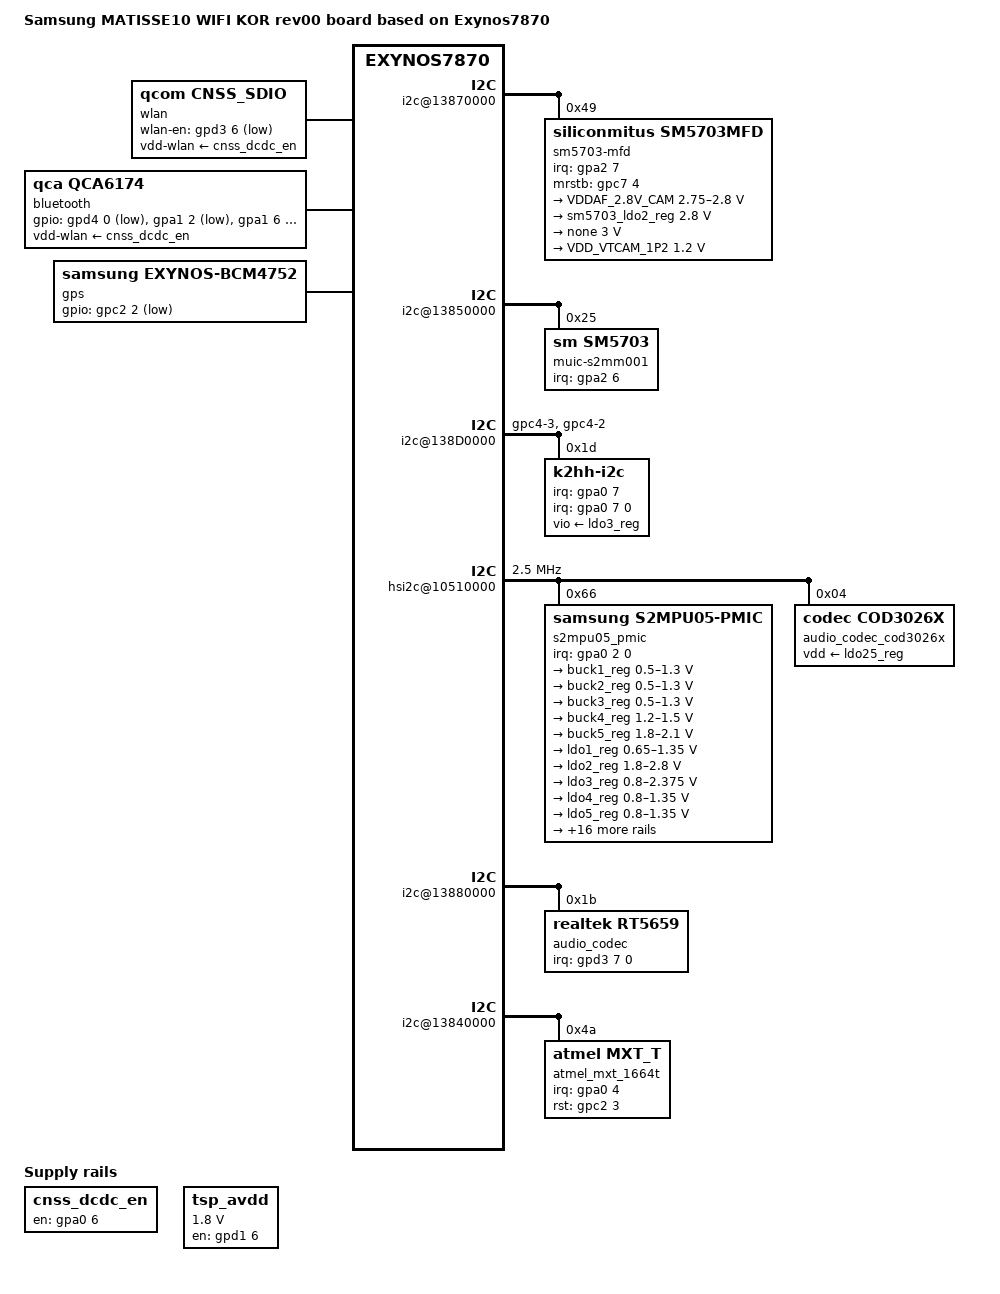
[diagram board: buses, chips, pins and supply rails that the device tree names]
/*
 * SAMSUNG UNIVERSAL8890 board device tree source
 *
 * Copyright (c) 2013 Samsung Electronics Co., Ltd.
 *		http://www.samsung.com
 *
 * This program is free software; you can redistribute it and/or modify
 * it under the terms of the GNU General Public License version 2 as
 * published by the Free Software Foundation.
*/

/dts-v1/;
#include "exynos7870-matisse10wifi_common.dtsi"
#include "modem-ss315ap-pdata.dtsi"
#include "exynos7870-matisse10wifi_kor_open_gpio_00.dtsi"
#include "exynos7870-matisse10wifi_kor_open_battery_00.dtsi"

/ {
	model = "Samsung MATISSE10 WIFI KOR rev00 board based on Exynos7870";
        model_info-chip = <7870>;
        model_info-platform = "android";
        model_info-subtype = "samsung";
        model_info-hw_rev = <0>;
        model_info-hw_rev_end = <0>;
	compatible = "samsung, MATISSE10 WIFI KOR OPEN 00", "samsung,exynos7870";

	cnss_dcdc_en: cnss_dcdc_en {
		compatible = "regulator-fixed";
		regulator-name = "cnss_dcdc_en";
		startup-delay-us = <4000>;
		enable-active-high;
		gpio = <&gpa0 6 0>;
	};

	i2c@13870000 {
		status = "okay";
		sm5703-mfd@49 {
			compatible = "siliconmitus,sm5703mfd";
			reg = <0x49>;
			pinctrl-names = "default";
			pinctrl-0 = <&chg_en &if_pmic_irq>;
			sm5703,irq-gpio = <&gpa2 7 0>;
			sm5703,mrstb-gpio = <&gpc7 4 0>;

			sm5703_ldo1 {
				compatible = "siliconmitus,sm5703-ldo1";
				regulator-name = "VDDAF_2.8V_CAM"; /* change name by yourself */
				regulator-min-microvolt = <2750000>;
				regulator-max-microvolt = <2800000>; /* max == min then apply_uV = 1 */
				/* regulator-microvolt-offset = < >; optional*/
				/* regulator-boot-on;*/ /* = "yes"; optional, exist = enabled */
				/* regulator-always-on;*/ /* = "yes"; optional, exist = enabled */
				/* regulator-ramp-delay = <100>; optional*/
			};

			sm5703_ldo2_reg: sm5703_ldo2 {
				compatible = "siliconmitus,sm5703-ldo2";
				regulator-name = "VDD_SENSOR_2P8"; /* change name by yourself */
				regulator-min-microvolt = <2800000>;
				regulator-max-microvolt = <2800000>; /* max == min then apply_uV = 1 */
				/* regulator-microvolt-offset = < >; optional*/
				/* regulator-boot-on;   = "yes"; optional, exist = enabled */
				regulator-always-on;   /* "yes"; optional, exist = enabled */
				/* regulator-ramp-delay = <100>; optional*/
			};

			sm5703_ldo3 {
				compatible = "siliconmitus,sm5703-ldo3";
				regulator-name = "none"; /* change name by yourself */
				regulator-min-microvolt = <3000000>;
				regulator-max-microvolt = <3000000>; /* max == min then apply_uV = 1 */
				/* regulator-microvolt-offset = < >; optional*/
				/* regulator-boot-on = "yes"; optional, exist = enabled */
				/* regulator-always-on = "yes"; optional, exist = enabled */
				/* regulator-ramp-delay = <100>; optional*/
			};

			sm5703_buck {
				compatible = "siliconmitus,sm5703-buck";
				regulator-name = "VDD_VTCAM_1P2"; /* change name by yourself */
				regulator-min-microvolt = <1200000>;
				regulator-max-microvolt = <1200000>; /* max == min then apply_uV = 1 */
				/* regulator-microvolt-offset = < >; optional*/
				/* regulator-boot-on = "yes"; optional, exist = enabled */
				/* regulator-always-on = "yes"; optional, exist = enabled */
				/* regulator-ramp-delay = <100>; optional*/
			};
		};
	};

	i2c@13850000 {
		status = "okay";

		muic-s2mm001@25 {
			compatible = "sm,sm5703";
			reg = <0x25>;
			pinctrl-names = "default";
			pinctrl-0 = <&muic_irq>;
			sm5703,irq-gpio = <&gpa2 6 0>;
		};
	};

	pinctrl@139F0000 {
		muic_irq: muic_irq {
			samsung,pins = "gpa2-6";
			samsung,pin-function = <0x0>;
			samsung,pin-pud = <3>;
		};
	};

	i2c@138D0000 {
		samsung,i2c-sda-delay = <100>;
		samsung,i2c-max-bus-freq = <400000>;
		status = "okay";
		#address-cells = <1>;
		#size-cells = <0>;
		pinctrl-names = "default";
		pinctrl-0 = <&sensor_i2c>;
		k2hh-i2c@1D {
			compatible = "k2hh-i2c";
			reg = <0x1D>;
			pinctrl-names = "default";
			pinctrl-0 = <&acc_int>;
			interrupt-parent = <&gpa0>;
			interrupts = <7 0 0>;
			k2hh,irq_gpio = <&gpa0 7 0>;
			k2hh,vio-supply = <&ldo3_reg>;
			k2hh,axis_map_x = <0>;
			k2hh,axis_map_y = <1>;
			k2hh,axis_map_z = <2>;
			k2hh,negate_x = <1>;
			k2hh,negate_y = <1>;
			k2hh,negate_z = <1>;
			k2hh,poll_interval = <100>;
			k2hh,min_interval = <2>;
		};
	};

	hsi2c@10510000 {
		status = "okay";
		samsung,hs-mode;
		clock-frequency = <2500000>;
		samsung,hsi2c-batcher;
		#address-cells = <1>;
		#size-cells = <0>;

		s2mpu05_pmic@66 {
			compatible = "samsung,s2mpu05-pmic";
			reg = <0x66>;
			ten-bit-address;
			interrupts = <2 0 0>;
			interrupt-parent = <&gpa0>;
			pinctrl-names = "default";
			pinctrl-0 = <&pmic_irq &pm_wrsti>;
			g3d_en = <1>; /* 1 : enable , 0 : disable */
			buck2en_pin = "etc1-3";
			buck2en_addr = "139B0080.pinctrl";
			/* RTC: wtsr/smpl */
			wtsr_en = <1>; /* enable */
			smpl_en = <1>; /* enable */
			wtsr_timer_val = <3>;   /* 1000ms */
			smpl_timer_val = <0>;   /* 100ms */
			check_jigon = <0>; /* do not check jigon */
			/* RTC: If it's first boot, reset rtc to 1/1/2016 12:00:00(Fri) */
			init_time,sec = <0>;
			init_time,min = <0>;
			init_time,hour = <12>;
			init_time,mday = <1>;
			init_time,mon = <0>;
			init_time,year = <116>;
			init_time,wday = <5>;

			regulators {
				buck1_reg: BUCK1 {
					regulator-name = "BUCK1";
					regulator-min-microvolt = <500000>;
					regulator-max-microvolt = <1300000>;
					regulator-always-on;
					regulator-boot-on;
					regulator-ramp-delay = <12000>;
					regulator-initial-mode = <1>;
					regulator-expected-consumer = <2>;
				};

				buck2_reg: BUCK2 {
					regulator-name = "BUCK2";
					regulator-min-microvolt = <500000>;
					regulator-max-microvolt = <1300000>;
					regulator-always-on;
					regulator-boot-on;
					regulator-ramp-delay = <12000>;
					regulator-initial-mode = <2>;		/* MIF mode */
					regulator-expected-consumer = <4>;
				};

				buck3_reg: BUCK3 {
					regulator-name = "BUCK3";
					regulator-min-microvolt = <500000>;
					regulator-max-microvolt = <1300000>;
					regulator-always-on;
					regulator-boot-on;
					regulator-ramp-delay = <12000>;
					regulator-initial-mode = <2>;
				};

				buck4_reg: BUCK4 {
					regulator-name = "BUCK4";
					regulator-min-microvolt = <1200000>;
					regulator-max-microvolt = <1500000>;
					regulator-always-on;
					regulator-boot-on;
					regulator-ramp-delay = <12000>;
					regulator-initial-mode = <2>;
				};

				buck5_reg: BUCK5 {
					regulator-name = "BUCK5";
					regulator-min-microvolt = <1800000>;
					regulator-max-microvolt = <2100000>;
					regulator-always-on;
					regulator-boot-on;
					regulator-ramp-delay = <12000>;
					regulator-initial-mode = <2>;
				};

				ldo1_reg: LDO1 {
					regulator-name = "vdd_ldo1";
					regulator-min-microvolt = <650000>;
					regulator-max-microvolt = <1350000>;
					regulator-always-on;
					regulator-boot-on;
					regulator-ramp-delay = <12000>;
					regulator-initial-mode = <3>;
				};

				ldo2_reg: LDO2 {
					regulator-name = "vqmmc";
					regulator-min-microvolt = <1800000>;
					regulator-max-microvolt = <2800000>;
					regulator-ramp-delay = <12000>;
					regulator-initial-mode = <0>;
				};

				ldo3_reg: LDO3 {
					regulator-name = "vdd_ldo3";
					regulator-min-microvolt = <800000>;
					regulator-max-microvolt = <2375000>;
					regulator-boot-on;
					regulator-always-on;
					regulator-ramp-delay = <12000>;
					regulator-initial-mode = <3>;
				};

				ldo4_reg: LDO4 {
					regulator-name = "vdd_ldo4";
					regulator-min-microvolt = <800000>;
					regulator-max-microvolt = <1350000>;
					regulator-boot-on;
					regulator-always-on;
					regulator-ramp-delay = <12000>;
					regulator-initial-mode = <1>;
				};

				ldo5_reg: LDO5 {
					regulator-name = "vdd_ldo5";
					regulator-min-microvolt = <800000>;
					regulator-max-microvolt = <1350000>;
					regulator-boot-on;
					regulator-always-on;
					regulator-ramp-delay = <12000>;
					regulator-initial-mode = <3>;
				};

				ldo6_reg: LDO6 {
					regulator-name = "vdd_ldo6";
					regulator-min-microvolt = <800000>;
					regulator-max-microvolt = <1350000>;
					regulator-boot-on;
					regulator-always-on;
					regulator-ramp-delay = <12000>;
					regulator-initial-mode = <1>;
				};

				ldo7_reg: LDO7 {
					regulator-name = "vdd_ldo7";
					regulator-min-microvolt = <800000>;
					regulator-max-microvolt = <2375000>;
					regulator-boot-on;
					regulator-always-on;
					regulator-ramp-delay = <12000>;
					regulator-initial-mode = <1>;
				};

				ldo8_reg: LDO8 {
					regulator-name = "vdd_ldo8";
					regulator-min-microvolt = <1800000>;
					regulator-max-microvolt = <3375000>;
					regulator-boot-on;
					regulator-always-on;
					regulator-ramp-delay = <12000>;
					regulator-initial-mode = <1>;
				};

				ldo9_reg: LDO9 {
					regulator-name = "vdd_ldo9";
					regulator-min-microvolt = <650000>;
					regulator-max-microvolt = <1350000>;
					regulator-always-on;
					regulator-ramp-delay = <12000>;
					regulator-initial-mode = <1>;
				};

				ldo10_reg: LDO10 {
					regulator-name = "vdd_ldo10";
					regulator-min-microvolt = <650000>;
					regulator-max-microvolt = <1350000>;
					regulator-always-on;
					regulator-ramp-delay = <12000>;
					regulator-initial-mode = <1>;
				};

				ldo19_reg: LDO19 {
					regulator-name = "vdd_ldo19";
					regulator-min-microvolt = <1800000>;
					regulator-max-microvolt = <1800000>;
					regulator-always-on;
					regulator-initial-mode = <3>;
				};

				ldo25_reg: LDO25 {
					regulator-name = "VDDIO_1.8V_CAM";
					regulator-min-microvolt = <1800000>;
					regulator-max-microvolt = <1800000>;
					regulator-initial-mode = <0>;
				};

				ldo26_reg: LDO26 {
					regulator-name = "vemmc";
					regulator-min-microvolt = <1800000>;
					regulator-max-microvolt = <3375000>;
					regulator-boot-on;
					regulator-ramp-delay = <12000>;
					regulator-initial-mode = <3>;
				};

				ldo27_reg: LDO27 {
					regulator-name = "vqemmc";
					regulator-min-microvolt = <800000>;
					regulator-max-microvolt = <2375000>;
					regulator-boot-on;
					regulator-ramp-delay = <12000>;
					regulator-initial-mode = <3>;
				};

				ldo29_reg: LDO29 {
					regulator-name = "VDD_CAM_AF_2P8";
					regulator-min-microvolt = <2800000>;
					regulator-max-microvolt = <2800000>;
					regulator-initial-mode = <0>;
				};

				ldo30_reg: LDO30 {
					regulator-name = "VDD_CODEC_1P8";
					regulator-min-microvolt = <1850000>;
					regulator-max-microvolt = <1850000>;
					regulator-always-on;
					regulator-initial-mode = <3>;
				};

				ldo31_reg: LDO31 {
					regulator-name = "vdd_ldo31";
					regulator-min-microvolt = <2800000>;
					regulator-max-microvolt = <2800000>;
					regulator-always-on;
					regulator-ramp-delay = <12000>;
				        regulator-initial-mode = <3>;
				};

				ldo32_reg: LDO32 {
					regulator-name = "VDD_CODEC_3P3";
					regulator-min-microvolt = <3300000>;
					regulator-max-microvolt = <3300000>;
					regulator-always-on;
					regulator-initial-mode = <3>;
				};

				ldo33_reg: LDO33 {
					regulator-name = "VT_CAM_2P8";
					regulator-min-microvolt = <2800000>;
					regulator-max-microvolt = <2800000>;
					regulator-always-on;
					regulator-boot-on;
					regulator-ramp-delay = <12000>;
					regulator-initial-mode = <3>;
				};

				ldo34_reg: LDO34 {
					regulator-name = "tsp_io";
					regulator-min-microvolt = <1800000>;
					regulator-max-microvolt = <1800000>;
					regulator-boot-on;
				};

				ldo35_reg: LDO35 {
					regulator-name = "VDD_CAM_SENSOR_A2P8";
					regulator-min-microvolt = <2800000>;
					regulator-max-microvolt = <2800000>;
					regulator-initial-mode = <0>;
				};
			};
		};

		audio_codec_cod3026x: cod3026x@04 {
			compatible = "codec,cod3026x";
			reg = <0x04>;
			ten-bit-address;
			vdd-supply = <&ldo25_reg>;
//			pinctrl-names = "default";
//			pinctrl-0 = <&cod3026_irq>;
//			interrupt-parent = <&gpa0>;
//			gpios = <&gpa0 4 0xf>;
			mic-bias1-voltage = <3>;
			mic-bias2-voltage = <3>;
			mic-bias-ldo-voltage = <3>;
		};
	};

	i2c@13880000 {
		samsung,i2c-sda-delay = <100>;
		samsung,i2c-max-bus-freq = <400000>;
		#address-cells = <1>;
		#size-cells = <0>;
		status = "okay";

		audio_codec: rt5659@1b {
			compatible = "realtek,rt5659";
			reg = <0x1b>;
			pinctrl-names = "default";
			pinctrl-0 = <&codec_ldoena &codec_reset &codec_irq>;
			interrupts = <7 0 0>;
			interrupt-parent = <&gpd3>;
			realtek,in3-differential = "true";
			realtek,in4-differential = "true";

			realtek,gpio_ldo = <&gpd3 2 0>;
			realtek,gpio_reset = <&gpd3 3 0>;
			realtek,regulator_1v8 = <&ldo30_reg>;
			realtek,regulator_3v3 = <&ldo32_reg>;
		};
	};

	earjack {
		det-zones-list = <&det_zones 0 10000 10 0>,
				<&det_zones 1700 10000 10 2>,
				<&det_zones 3800 10000 10 1>,
				<&det_zones 9999 10000 10 1>;
		but-zones-list = <&but_zones 226 1 710>,
				<&but_zones 582 711 768>,
				<&but_zones 115 769 930>,
				<&but_zones 114 931 1700>;
	};

	sound {
		samsung,audio-routing =
				"HP", "HPOL",
				"HP", "HPOR",
				"RCV", "MONOOUT",
				"SPK", "SPOL",
				"SPK", "SPOR",
				"IN1P", "Headset Mic",
				"IN1N", "Headset Mic",
				"IN3P", "MICBIAS1",
				"IN3P", "Main Mic",
				"IN3N", "Main Mic";

		earmic_bias = <2>;
		mixer-paths = "mixer_paths_rev03.xml";
	};

	wlan {
		compatible = "qcom,cnss_sdio";
		wlan-en-gpio = <&gpd3 6 0x1>; /* WLAN_EN */
		wlan-host-wake = <&gpa2 2 0>; /* WLAN_HOST_WAKE */
		vdd-wlan-supply = <&cnss_dcdc_en>; /* DCDC_EN regulator */
		pinctrl-names = "default";
		pinctrl-0 = <&cnss_wlanen &cfg_wlanhostwake>;
		status = "okay";
	};

	tsp_avdd_en {
		compatible = "regulator-fixed";
		regulator-name = "tsp_avdd";
		regulator-min-microvolt = <1800000>;
		regulator-max-microvolt = <1800000>;
		gpio = <&gpd1 6 0>;
		enable-active-high;
	};
	
	pinctrl@13750000 {
		sd1_bus1: sd1-bus-width1 {
			samsung,pin-pud = <3>;
		};

		sd1_bus4: sd1-bus-width4 {
			samsung,pin-pud = <3>;
		};
	};

	pinctrl@139F0000 {
		attn_input: attn-input {
			samsung,pins = "gpa0-4";
			samsung,pin-function = <0>;
			samsung,pin-pud = <0>;
			samsung,pin-drv = <0>;
		};
		attn_irq: attn-irq {
			samsung,pins = "gpa0-4";
			samsung,pin-function = <0xf>;
			samsung,pin-pud = <0>;
			samsung,pin-drv = <0>;
		};
	};

	i2c@13840000 {
//		pinctrl-names = "default";
//		pinctrl-0 = <&i2c_touch_bus &tsp_rst>;
		samsung,i2c-sda-delay = <100>;
		samsung,i2c-max-bus-freq = <400000>;
		status = "okay";
		atmel_mxt_1664t@4a {
			compatible = "atmel,mxt_t";
			reg = <0x4a>;
			pinctrl-names = "on_state", "off_state";
			pinctrl-0 = <&attn_irq>;
			pinctrl-1 = <&attn_input>;
			mxts,irq-gpio = <&gpa0 4 0>;
			mxts,rst-gpio = <&gpc2 3 0>;
			mxts,tsp_coord = <32 52 4095 4095>;
			mxts,regulator_dvdd = "tsp_io";
			mxts,regulator_avdd = "tsp_avdd";
			mxts,firmware_name = "tsp_atmel/mxt1664t_matisse.fw";
			mxts,pname = "Matisse";
		};
	};

	i2c@13840000 {
		touchscreen@49{
			status = "disabled";
		};
	};

	bluetooth {
		compatible = "qca,qca6174";
		gpios = <&gpd4 0 0x1	/*BT_EN*/
				&gpa1 2 0x1	/*BT_WAKE*/
				&gpa1 6 0xF	/*BT_HOST_WAKE*/ >;
		vdd-wlan-supply = <&cnss_dcdc_en>; /* DCDC_EN regulator */
		pinctrl-names = "default";
		pinctrl-0=<&bt_hostwake &bt_btwake &bt_en>;
		status = "okay";
	};

	pinctrl@139F0000 {
		mpu_irq: mpu_irq {
			samsung,pins = "gpa2-3";
			samsung,pin-function = <0>;
			samsung,pin-pud = <1>;
			samsung,pin-drv = <0>;
		};
	};

	pinctrl@139B0000 {
		leden_gpio: leden_gpio {
			samsung,pins = "gpd4-6";
			samsung,pin-function = <1>;
			samsung,pin-pud = <0>;
			samsung,pin-val = <0>;
		};

		sensor_i2c: sensor_i2c {
			samsung,pins = "gpc4-3", "gpc4-2";
			samsung,pin-function = <2>;
			samsung,pin-pud = <0>;
		};

		proxy_i2c: proxy_i2c {
			samsung,pins = "gpc5-1", "gpc5-0";
			samsung,pin-function = <2>;
			samsung,pin-pud = <0>;
		};

		codec_i2c: codec-i2c {
			samsung,pins ="gpc1-2", "gpc1-3";
			samsung,pin-function = <2>;
			samsung,pin-pud = <0>;
			samsung,pin-drv = <0>;
		};

		codec_ldoena: codec-ldoena {
			samsung,pins ="gpd3-2";
			samsung,pin-function = <1>;
			samsung,pin-pud = <0>;
			samsung,pin-pud-pdn = <0>;
			samsung,pin-con-pdn = <3>;
			samsung,pin-val = <1>;
		};

		codec_reset: codec-reset {
			samsung,pins ="gpd3-3";
			samsung,pin-function = <1>;
			samsung,pin-pud = <0>;
			samsung,pin-pud-pdn = <0>;
			samsung,pin-con-pdn = <3>;
			samsung,pin-val = <1>;
		};

		codec_irq: codec-irq {
			samsung,pins = "gpd3-7";
			samsung,pin-pud = <0>;
		};
	};

	pinctrl@139F0000 {
		fmradio_irq: fmradio-irq {
			samsung,pins = "gpa2-4";
			samsung,pin-function = <0xf>;
			samsung,pin-pud = <0>;
			samsung,pin-drv = <0>;
		};
	};

	pinctrl@139B0000 {
			uart1_rx: uart1-rts {
			samsung,pins = "gpd2-3";
			samsung,pin-function = <2>;
			samsung,pin-pud = <3>;
			samsung,pin-con-pdn = <1>;
			samsung,pin-pud-pdn = <3>;
		};

			uart1_tx: uart1-cts {
			samsung,pins = "gpd2-2";
			samsung,pin-function = <2>;
			samsung,pin-pud = <3>;
			samsung,pin-con-pdn = <2>;
			samsung,pin-pud-pdn = <3>;
		};

		uart1_cts: uart1-tx {
			samsung,pins = "gpd2-1";
			samsung,pin-function = <2>;
			samsung,pin-pud = <3>;
			samsung,pin-con-pdn = <1>;
			samsung,pin-pud-pdn = <3>;
		};

		uart1_rts: uart1-rx {
			samsung,pins = "gpd2-0";
			samsung,pin-function = <2>;
			samsung,pin-pud = <3>;
			samsung,pin-con-pdn = <2>;
			samsung,pin-pud-pdn = <3>;
		};

	};

	serial@13800000 {
	       pinctrl-names = "default";
		pinctrl-0 = <&uart1_rts &uart1_cts &uart1_tx &uart1_rx>;
	};

	gps {
		compatible = "samsung,exynos-bcm4752";
		gpios = <&gpc2 2 0x1 >; /* GPS_EN */
		status = "okay";
	};

	fimc_is_module_sr544: fimc-is_sensor_sr544@28 {
		/delete-property/ gpio_cam_1p8_en;
	};

	fimc_is_module_sr259: fimc-is_sensor_sr259@30 {
		/delete-property/ gpio_vt_cam_1p8_en;
	};

};
